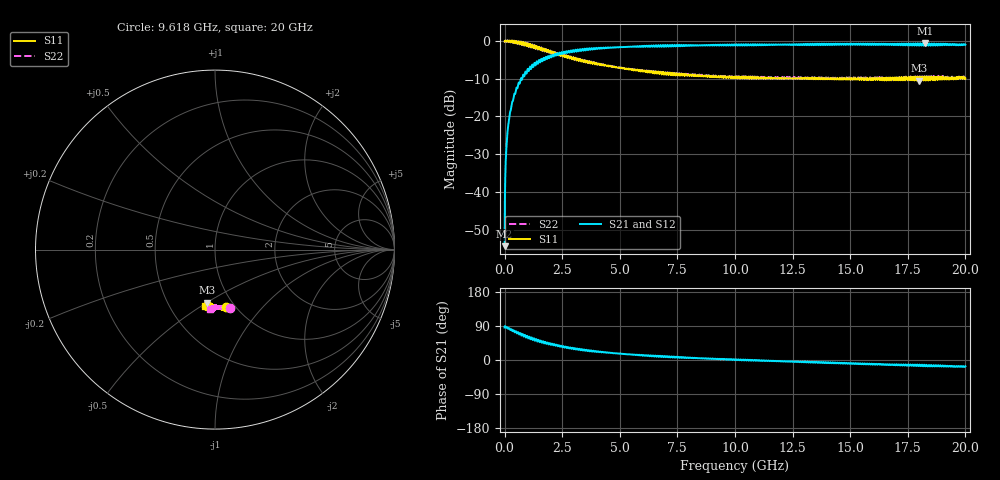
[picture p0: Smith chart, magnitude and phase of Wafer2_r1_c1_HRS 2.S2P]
!  2-Port S-parameters saved by WinCal
! VAR MeasName=S-Parameters (CALIBRATED_DATA) read from VNA (P5004A)
! VAR MeasDate=24/04/2024 17:18:31
! VAR NAME=Wafer2_r1_c1_HRS 2
! VAR FILENAME=Wafer2_r1_c1_HRS 2.S2P
! VAR DATE=24/04/2024 17:18:31
! VAR PHYS_PORTS=1,2
! VAR ObjTypeName=DATASET
! VAR IndexType=Frequency
# Hz S MA R 50
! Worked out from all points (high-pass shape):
!   4999 points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, 4.01 MHz to 20 GHz, reference 50 ohm
!   highest |S21| = -0.62 dB at 18.24 GHz (marker M1); lowest = -54.4 dB at 4.01 MHz (marker M2)
!   |S21| within 3 dB of the highest: 2.254 GHz to 2.319 GHz (65.05 MHz wide, 2.85 % of centre); 2.34 GHz to end of sweep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
!   lowest |S11| = -10.5 dB at 17.98 GHz (marker M3), VSWR 1.86, Z = 38.6 - j25.1 ohm
!   |S11| at or under -10 dB: 15.26678 GHz to 15.32711 GHz (60.34 MHz wide, 0.394 % of centre); 15.36618 GHz to 15.42826 GHz (62.08 MHz wide, 0.403 % of centre); 15.56389 GHz to 15.62972 GHz (65.82 MHz wide, 0.422 % of centre)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
!   |S22| runs from -10.1 to 0.1 dB; largest |S21 - S12| = 0.016
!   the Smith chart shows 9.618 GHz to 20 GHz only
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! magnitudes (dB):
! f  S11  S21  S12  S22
! 4.01 MHz  -0.1  -54.4  -54.3  -0.1
! 48.02 MHz  0.1  -32.6  -32.7  0.1
! 108 MHz  -0.1  -25.9  -25.9  -0.1
! 140 MHz  0.1  -23.4  -23.5  0.1
! 180 MHz  -0.2  -21.7  -21.7  -0.2
! 248.1 MHz  -0.1  -18.7  -18.8  -0.1
! 348.1 MHz  -0.2  -16.0  -16.1  -0.2
! 464.1 MHz  -0.6  -14.0  -14.0  -0.6
! 624.1 MHz  -0.2  -11.0  -11.0  -0.2
! 824.2 MHz  -0.5  -9.0  -9.0  -0.5
! 1.04 GHz  -1.4  -8.0  -7.9  -1.4
! 1.56 GHz  -2.2  -5.5  -5.5  -2.3
! 2.348 GHz  -3.6  -3.5  -3.5  -3.7
! 3.341 GHz  -5.2  -2.5  -2.5  -5.2
! 4.797 GHz  -6.9  -1.6  -1.7  -6.8
! 6.673 GHz  -8.1  -1.1  -1.1  -8.2
! 10 GHz  -9.7  -1.1  -1.2  -9.6
! 13.33 GHz  -9.9  -1.0  -1.0  -9.7
! 16.67 GHz  -10.3  -0.9  -0.9  -9.7
! 17.98 GHz  -10.5  -1.2  -1.2  -9.9
! 18.24 GHz  -9.5  -0.6  -0.6  -9.5
! 20 GHz  -9.9  -1.0  -1.0  -9.5
